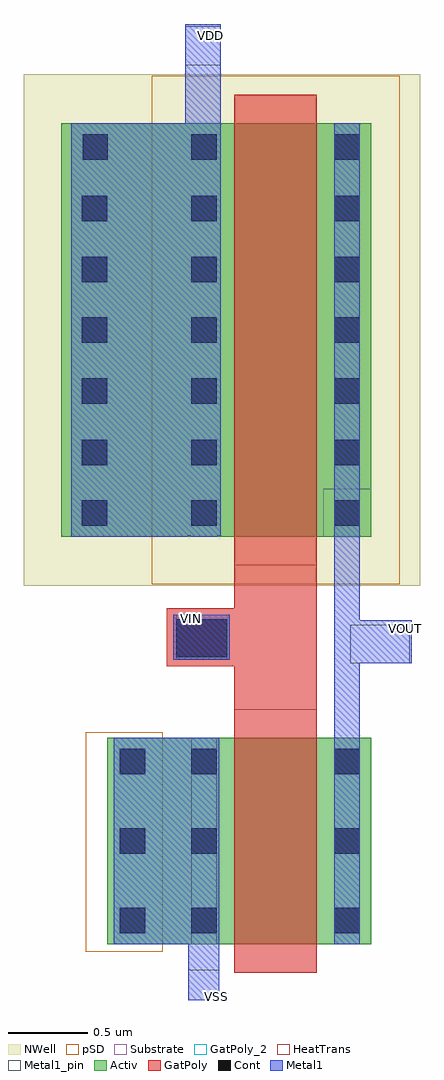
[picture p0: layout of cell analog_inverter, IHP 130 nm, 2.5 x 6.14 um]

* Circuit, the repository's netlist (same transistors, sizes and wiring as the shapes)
.subckt analog_inverter VIN VOUT VDD VSS
*.ipin VIN
*.iopin VDD
*.iopin VSS
*.opin VOUT
M1 VOUT VIN VDD VDD sg13_lv_pmos w=2.6u l=0.52u ng=1 m=1
M2 VOUT VIN VSS VSS sg13_lv_nmos w=1.3u l=0.52u ng=1 m=1
.ends

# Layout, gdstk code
from math import pi, radians
import gdstk
lib = gdstk.Library(unit=1e-6, precision=1e-09)
def R(c, l, rs):  # rectangles x0, y0, x1, y1
    for r in rs: c.add(gdstk.rectangle(r[:2], r[2:], *l))
def A(c, l, x, y, w, h, nx, ny, dx, dy):  # array of equal rectangles
    R(c, l, [(x+i*dx, y+j*dy, x+i*dx+w, y+j*dy+h) for i in range(nx) for j in range(ny)])
Activ = (1, 0)
GatPoly = (5, 0)
GatPoly_2 = (5, 2)
Cont = (6, 0)
Metal1 = (8, 0)
Metal1_pin = (8, 2)
pSD = (14, 0)
NWell = (31, 0)
Substrate = (40, 0)
HeatTrans = (51, 0)

pmos = lib.new_cell('pmos')
R(pmos, Activ, [(0,0,0.3,0.3), (0,0,1.2,2.6), (0.9,0,1.2,0.3)])
R(pmos, GatPoly, [(0.34,-0.18,0.86,2.78), (0.34,-0.18,0.86,2.78)])
A(pmos, Cont, 0.07, 0.45, 0.16, 0.16, 1, 3, 0, 0.385)
A(pmos, Cont, 0.97, 0.45, 0.16, 0.16, 1, 3, 0, 0.385)
A(pmos, Cont, 0.07, 1.6, 0.16, 0.16, 1, 3, 0, 0.385)
A(pmos, Cont, 0.97, 1.6, 0.16, 0.16, 1, 3, 0, 0.385)
R(pmos, Cont, [(0.07,0.07,0.23,0.23), (0.97,0.07,1.13,0.23)])
R(pmos, Metal1, [(0.07,0,0.23,2.6), (0.07,0,0.23,2.6), (0.97,0,1.13,2.6), (0.97,0,1.13,2.6)])
R(pmos, pSD, [(-0.18,-0.3,1.38,2.9)])
R(pmos, NWell, [(-0.31,-0.31,1.51,2.91)])
R(pmos, Substrate, [(0.9,0,1.2,0.3)])
R(pmos, HeatTrans, [(0.34,-0.18,0.86,2.78)])
pmos.add(gdstk.Label('pmos', (0.6,1.3), layer=63, texttype=0))
pmos.add(gdstk.Label('pmos', (0.6,1.3), layer=51, texttype=0))

nmos_1 = lib.new_cell('nmos$1')
R(nmos_1, Activ, [(0,0,0.3,0.3), (0,0,1.2,1.3), (0.9,0,1.2,0.3)])
R(nmos_1, GatPoly, [(0.34,-0.18,0.86,1.48)])
R(nmos_1, GatPoly_2, [(0.34,-0.18,0.86,1.48)])
A(nmos_1, Cont, 0.07, 0.07, 0.16, 0.16, 1, 3, 0, 0.5)
A(nmos_1, Cont, 0.97, 0.07, 0.16, 0.16, 1, 3, 0, 0.5)
R(nmos_1, Metal1, [(0.07,0,0.23,1.3), (0.97,0,1.13,1.3)])
R(nmos_1, Metal1_pin, [(0.07,0,0.23,1.3), (0.97,0,1.13,1.3)])
R(nmos_1, HeatTrans, [(0.34,-0.18,0.86,1.48)])
nmos_1.add(gdstk.Label('nmos', (0.6,0.65), layer=63, texttype=0))
nmos_1.add(gdstk.Label('nmos', (0.6,0.65), layer=51, texttype=0))

text = lib.new_cell('TEXT')

analog_inverter = lib.new_cell('analog_inverter')
R(analog_inverter, Activ, [(-0.895,-2.39,-0.415,-1.09), (-1.185,0.175,-0.42,2.775)])
R(analog_inverter, GatPoly, [(-0.095,-0.945,0.425,0.02), (-0.52,-0.64,0.065,-0.275)])
A(analog_inverter, Cont, -0.815, -2.32, 0.16, 0.16, 1, 3, 0, 0.5)
A(analog_inverter, Cont, -1.055, 0.625, 0.16, 0.16, 1, 3, 0, 0.385)
R(analog_inverter, Cont, [(-0.46,-0.585,-0.14,-0.345), (-1.055,0.245,-0.895,0.405), (-1.055,1.775,-0.895,1.935), (-1.055,2.16,-0.895,2.32), (-1.05,2.545,-0.89,2.705)])
R(analog_inverter, Metal1, [(-0.385,-2.74,-0.19,-1.09), (-0.855,-2.39,-0.375,-1.09), (0.535,-1.14,0.695,0.22), (0.635,-0.62,1.02,-0.35), (-0.48,-0.6,-0.125,-0.315), (-1.12,0.175,-0.39,2.775), (-0.405,0.18,-0.18,3.4)])
R(analog_inverter, Metal1_pin, [(-0.385,-2.74,-0.19,-2.55), (0.635,-0.62,1.01,-0.38), (-0.46,-0.595,-0.125,-0.315), (-0.405,3.14,-0.18,3.385)])
R(analog_inverter, pSD, [(-1.03,-2.435,-0.545,-1.055)])
R(analog_inverter, NWell, [(-1.42,-0.135,-0.68,3.085)])
analog_inverter.add(gdstk.Reference(pmos, (-0.435,0.175)))
analog_inverter.add(gdstk.Reference(nmos_1, (0.765,-1.09), rotation=pi))
analog_inverter.add(gdstk.Reference(text, (-1.545,-1.425), rotation=pi))
analog_inverter.add(gdstk.Reference(text, (-0.405,-0.555), rotation=pi))
analog_inverter.add(gdstk.Reference(text, (-1.425,-0.915), rotation=pi))
analog_inverter.add(gdstk.Reference(text, (-1.585,-0.81), rotation=pi))
analog_inverter.add(gdstk.Label('VIN', (-0.365,-0.34), layer=8, texttype=25))
analog_inverter.add(gdstk.Label('VOUT', (0.98,-0.4), layer=8, texttype=25))
analog_inverter.add(gdstk.Label('VDD', (-0.245,3.33), layer=8, texttype=25))
analog_inverter.add(gdstk.Label('VSS', (-0.21,-2.715), layer=8, texttype=25))

lib.write_gds('analog_inverter.gds')
